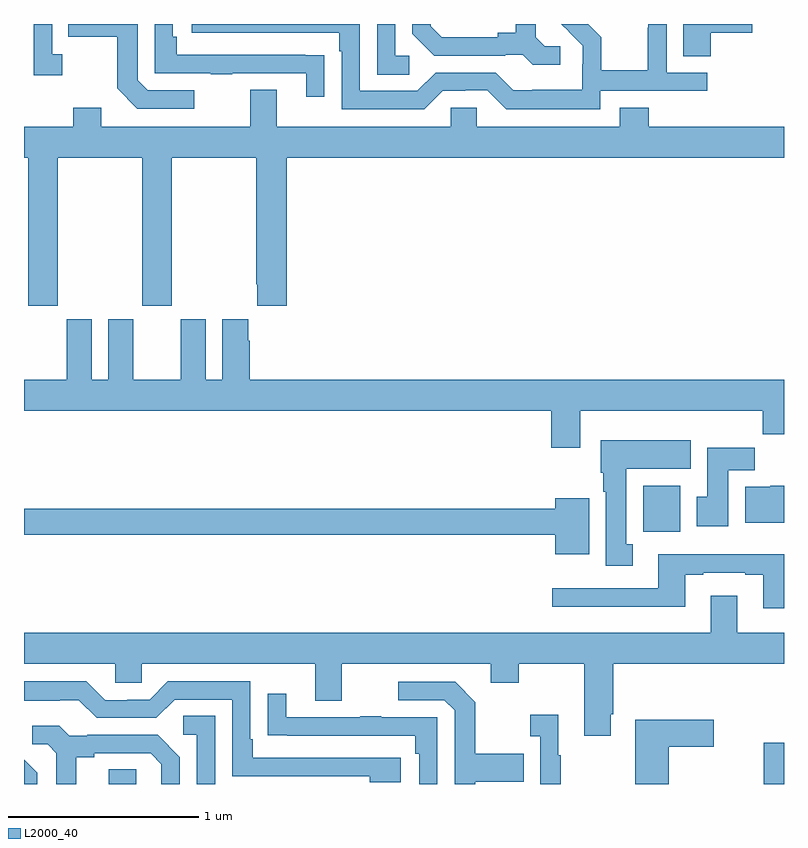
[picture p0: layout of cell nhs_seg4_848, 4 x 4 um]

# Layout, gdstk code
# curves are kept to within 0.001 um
import gdstk
lib = gdstk.Library(unit=1e-6, precision=1e-09)
def R(c, l, rs):  # rectangles x0, y0, x1, y1
    for r in rs: c.add(gdstk.rectangle(r[:2], r[2:], *l))
def P(c, l, *ps):  # polygons
    for p in ps: c.add(gdstk.Polygon(p, *l))
L2000_40 = (2000, 40)

nhs_seg4_848 = lib.new_cell('nhs_seg4_848')
R(nhs_seg4_848, L2000_40, [(155.447,750.9,155.592,750.977), (158.894,750.9,159,751.117), (158.258,752.228,158.455,752.47)])
P(nhs_seg4_848, L2000_40, [(155.896,754.551),(155.652,754.551),(155.598,754.605),(155.598,754.9),(155.233,754.9),(155.233,754.834),(155.49,754.834),(155.49,754.561),(155.595,754.455),(155.896,754.455)],
  [(158.615,754.853),(158.833,754.853),(158.833,754.9),(158.471,754.9),(158.471,754.729),(158.615,754.729)],
  [(156.581,754.736),(156.479,754.736),(156.479,754.737),(155.804,754.737),(155.804,754.834),(155.784,754.834),(155.784,754.9),(155.688,754.9),(155.688,754.641),(155.983,754.641),(155.983,754.636),(156.095,754.636),(156.095,754.641),(156.485,754.641),(156.485,754.518),(156.581,754.518)],
  [(157.822,754.782),(157.74,754.782),(157.693,754.829),(157.693,754.9),(157.589,754.9),(157.589,754.853),(157.493,754.853),(157.493,754.83),(157.198,754.83),(157.141,754.887),(157.141,754.9),(157.044,754.9),(157.044,754.85),(157.16,754.734),(157.532,754.734),(157.532,754.737),(157.626,754.737),(157.678,754.685),(157.822,754.685)],
  [(155.2,754.742),(155.148,754.742),(155.148,754.9),(155.051,754.9),(155.051,754.629),(155.2,754.629)],
  [(158.034,754.548),(158.596,754.548),(158.596,754.644),(158.382,754.644),(158.382,754.9),(158.286,754.9),(158.286,754.88),(158.284,754.88),(158.284,754.657),(158.039,754.657),(158.039,754.831),(157.97,754.9),(157.828,754.9),(157.94,754.786),(157.94,754.689),(157.938,754.689),(157.938,754.555),(157.675,754.555),(157.675,754.551),(157.575,754.551),(157.482,754.644),(157.167,754.644),(157.071,754.548),(156.768,754.548),(156.768,754.9),(155.883,754.9),(155.883,754.854),(156.659,754.854),(156.659,754.757),(156.672,754.757),(156.672,754.452),(157.107,754.452),(157.203,754.548),(157.322,754.548),(157.322,754.551),(157.437,754.551),(157.537,754.451),(158.034,754.451)],
  [(157.027,754.734),(156.954,754.734),(156.954,754.9),(156.858,754.9),(156.858,754.633),(157.027,754.633)],
  [(155.178,754.196),(155.623,754.196),(155.623,753.417),(155.778,753.417),(155.778,754.196),(156.223,754.196),(156.223,753.529),(156.227,753.529),(156.227,753.417),(156.383,753.417),(156.383,754.196),(159,754.196),(159,754.36),(158.288,754.36),(158.288,754.459),(158.135,754.459),(158.135,754.36),(157.383,754.36),(157.383,754.458),(157.245,754.458),(157.245,754.36),(156.331,754.36),(156.331,754.555),(156.191,754.555),(156.191,754.36),(155.407,754.36),(155.407,754.459),(155.26,754.459),(155.26,754.36),(155,754.36),(155,754.196),(155.023,754.196),(155.023,753.417),(155.178,753.417)],
  [(157.927,752.864),(158.887,752.864),(158.887,752.74),(159,752.74),(159,753.028),(156.188,753.028),(156.188,753.233),(156.181,753.233),(156.181,753.346),(156.044,753.346),(156.044,753.028),(155.956,753.028),(155.956,753.346),(155.825,753.346),(155.825,753.028),(155.575,753.028),(155.575,753.346),(155.444,753.346),(155.444,753.028),(155.356,753.028),(155.356,753.346),(155.225,753.346),(155.225,753.028),(155,753.028),(155,752.864),(157.775,752.864),(157.775,752.67),(157.927,752.67)],
  [(158.203,752.162),(158.17,752.162),(158.17,752.558),(158.509,752.558),(158.509,752.71),(158.036,752.71),(158.036,752.538),(158.048,752.538),(158.048,752.438),(158.063,752.438),(158.063,752.049),(158.203,752.049)],
  [(158.707,752.552),(158.846,752.552),(158.846,752.671),(158.597,752.671),(158.597,752.412),(158.54,752.412),(158.54,752.256),(158.707,752.256)],
  [(159,752.47),(158.928,752.47),(158.928,752.464),(158.795,752.464),(158.795,752.276),(159,752.276)],
  [(157.975,752.404),(157.796,752.404),(157.796,752.348),(155,752.348),(155,752.212),(157.796,752.212),(157.796,752.108),(157.975,752.108)],
  [(159,752.11),(158.339,752.11),(158.339,751.929),(157.779,751.929),(157.779,751.832),(158.479,751.832),(158.479,752.001),(158.575,752.001),(158.575,752.013),(158.795,752.013),(158.795,752.001),(158.891,752.001),(158.891,751.824),(159,751.824)],
  [(155,751.532),(155.481,751.532),(155.481,751.434),(155.619,751.434),(155.619,751.532),(156.533,751.532),(156.533,751.338),(156.673,751.338),(156.673,751.532),(157.457,751.532),(157.457,751.433),(157.605,751.433),(157.605,751.532),(157.949,751.532),(157.949,751.155),(158.089,751.155),(158.089,751.267),(158.102,751.267),(158.102,751.532),(159,751.532),(159,751.696),(158.755,751.696),(158.755,751.891),(158.615,751.891),(158.615,751.696),(155,751.696)],
  [(156.982,751.038),(156.205,751.038),(156.205,751.135),(156.192,751.135),(156.192,751.44),(155.757,751.44),(155.661,751.344),(155.543,751.344),(155.543,751.341),(155.427,751.341),(155.327,751.441),(155,751.441),(155,751.337),(155.189,751.337),(155.189,751.341),(155.289,751.341),(155.382,751.248),(155.697,751.248),(155.793,751.344),(156.096,751.344),(156.096,750.942),(156.821,750.942),(156.821,750.908),(156.982,750.908)],
  [(157.375,750.911),(157.631,750.911),(157.631,751.059),(157.375,751.059),(157.375,751.331),(157.269,751.437),(156.969,751.437),(156.969,751.341),(157.212,751.341),(157.266,751.287),(157.266,750.9),(157.375,750.9)],
  [(157.176,751.251),(156.881,751.251),(156.881,751.256),(156.769,751.256),(156.769,751.251),(156.379,751.251),(156.379,751.375),(156.283,751.375),(156.283,751.156),(156.385,751.156),(156.385,751.155),(157.06,751.155),(157.06,751.058),(157.08,751.058),(157.08,750.9),(157.176,750.9)],
  [(157.825,751.051),(157.813,751.051),(157.813,751.264),(157.665,751.264),(157.665,751.151),(157.716,751.151),(157.716,750.9),(157.825,750.9)],
  [(156.006,751.259),(155.838,751.259),(155.838,751.158),(155.91,751.158),(155.91,750.9),(156.006,750.9)],
  [(158.393,751.097),(158.629,751.097),(158.629,751.239),(158.218,751.239),(158.218,750.9),(158.393,750.9)],
  [(155.275,751.04),(155.371,751.04),(155.371,751.062),(155.666,751.062),(155.723,751.005),(155.723,750.9),(155.82,750.9),(155.82,751.042),(155.704,751.158),(155.332,751.158),(155.332,751.155),(155.238,751.155),(155.186,751.207),(155.043,751.207),(155.043,751.11),(155.124,751.11),(155.171,751.063),(155.171,750.9),(155.275,750.9)],
  [(155.07,750.958),(155,751.028),(155,750.9),(155.07,750.9)])

lib.write_gds('nhs_seg4_848.gds')
